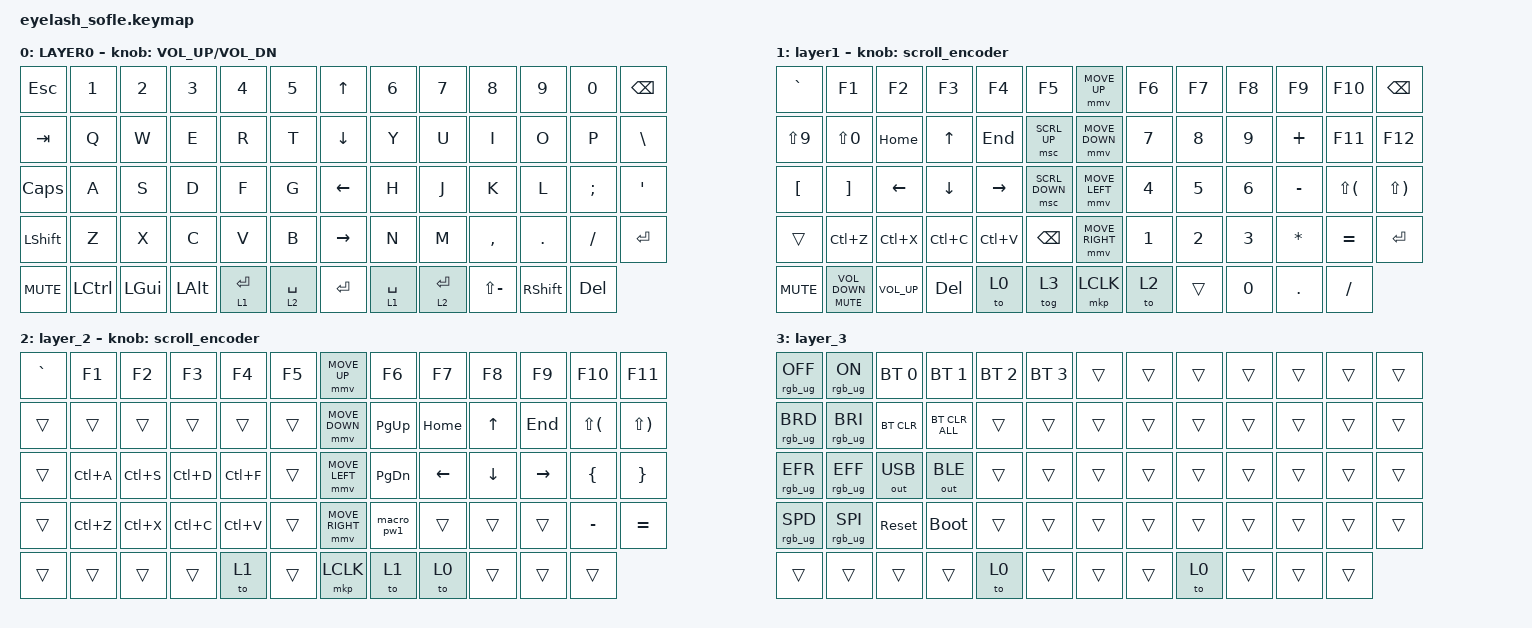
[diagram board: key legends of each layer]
#define ZMK_POINTING_DEFAULT_MOVE_VAL 1200  // 600
#define ZMK_POINTING_DEFAULT_SCRL_VAL 25   // 10

#include <input/processors.dtsi>
#include <zephyr/dt-bindings/input/input-event-codes.h>
#include <behaviors.dtsi>
#include <dt-bindings/zmk/bt.h>
#include <dt-bindings/zmk/keys.h>
#include <dt-bindings/zmk/outputs.h>
#include <dt-bindings/zmk/pointing.h>
#include <dt-bindings/zmk/rgb.h>

&mmv_input_listener { input-processors = <&zip_xy_scaler 2 1>; };

&msc_input_listener { input-processors = <&zip_scroll_scaler 2 1>; };

&msc {
    acceleration-exponent = <1>;      // 0
    time-to-max-speed-ms = <100>;       // 300
    delay-ms = <0>;                   // 0
};

&mmv {
    time-to-max-speed-ms = <500>;
    acceleration-exponent = <1>;
    trigger-period-ms = <16>;
};

/ {
    scroll_encoder: scroll_encoder {
        compatible = "zmk,behavior-sensor-rotate";
        #sensor-binding-cells = <0>;
        bindings = <&msc SCRL_DOWN>, <&msc SCRL_UP>;

        tap-ms = <100>;
    };

    macros {
        macro_pw1: macro_pw1 {
            compatible = "zmk,behavior-macro";
            #binding-cells = <0>;
            bindings = <&kp LS(X) &kp Q &kp K &kp N9 &kp N1 &kp N0 &kp N7 &kp N1 &kp N5>;
            label = "MACRO_PW1";
        };
    };

    behaviors {
    };

    keymap {
        compatible = "zmk,keymap";

        layer_0 {
            bindings = <
&kp ESC     &kp N1     &kp N2        &kp N3        &kp N4     &kp N5         &kp UP_ARROW     &kp N6       &kp N7        &kp N8         &kp N9           &kp N0      &kp BACKSPACE
&kp TAB     &kp Q      &kp W         &kp E         &kp R      &kp T          &kp DOWN_ARROW   &kp Y        &kp U         &kp I          &kp O            &kp P       &kp BSLH
&kp CAPS    &kp A      &kp S         &kp D         &kp F      &kp G          &kp LEFT_ARROW   &kp H        &kp J         &kp K          &kp L            &kp SEMI    &kp APOS
&kp LSHFT   &kp Z      &kp X         &kp C         &kp V      &kp B          &kp RIGHT_ARROW  &kp N        &kp M         &kp COMMA      &kp DOT          &kp FSLH    &kp ENTER
&kp C_MUTE  &kp LCTRL  &kp LEFT_GUI  &kp LEFT_ALT  &lt 1 RET  &lt 2 SPACE    &kp ENTER        &lt 1 SPACE  &lt 2 RETURN  &kp LS(MINUS)  &kp RIGHT_SHIFT  &kp DELETE
            >;

            sensor-bindings = <&inc_dec_kp C_VOLUME_UP C_VOL_DN>;
            display-name = "LAYER0";
        };

        layer_1 {
            bindings = <
&kp GRAVE         &kp F1                    &kp F2           &kp F3          &kp F4           &kp F5            &mmv MOVE_UP     &kp F6  &kp F7  &kp F8  &kp F9     &kp F10       &kp BSPC
&kp LS(N9)        &kp LS(N0)                &kp HOME         &kp UP_ARROW    &kp END          &msc SCRL_UP      &mmv MOVE_DOWN   &kp N7  &kp N8  &kp N9  &kp PLUS   &kp F11       &kp F12
&kp LEFT_BRACKET  &kp RIGHT_BRACKET         &kp LEFT_ARROW   &kp DOWN_ARROW  &kp RIGHT_ARROW  &msc SCRL_DOWN    &mmv MOVE_LEFT   &kp N4  &kp N5  &kp N6  &kp MINUS  &kp LS(LPAR)  &kp LS(RPAR)
&trans            &kp LC(Z)                 &kp LC(X)        &kp LC(C)       &kp LC(V)        &kp BACKSPACE     &mmv MOVE_RIGHT  &kp N1  &kp N2  &kp N3  &kp STAR   &kp EQUAL     &kp RET
&kp C_MUTE        &mt C_MUTE C_VOLUME_DOWN  &kp C_VOLUME_UP  &kp DELETE      &to 0            &tog 3            &mkp LCLK        &to 2   &trans  &kp N0  &kp DOT    &kp FSLH
            >;

            display-name = "layer1";
            sensor-bindings = <&scroll_encoder>;
        };

        layer_2 {
            bindings = <
&kp GRAVE  &kp F1     &kp F2     &kp F3     &kp F4     &kp F5    &mmv MOVE_UP     &kp F6      &kp F7    &kp F8    &kp F9     &kp F10       &kp F11
&trans     &trans     &trans     &trans     &trans     &trans    &mmv MOVE_DOWN   &kp PG_UP   &kp HOME  &kp UP    &kp END    &kp LS(LPAR)  &kp LS(RPAR)
&trans     &kp LC(A)  &kp LC(S)  &kp LC(D)  &kp LC(F)  &trans    &mmv MOVE_LEFT   &kp PG_DN   &kp LEFT  &kp DOWN  &kp RIGHT  &kp LBRC      &kp RBRC
&trans     &kp LC(Z)  &kp LC(X)  &kp LC(C)  &kp LC(V)  &trans    &mmv MOVE_RIGHT  &macro_pw1  &trans    &trans    &trans     &kp MINUS     &kp EQUAL
&trans     &trans     &trans     &trans     &to 1      &trans    &mkp LCLK        &to 1       &to 0     &trans    &trans     &trans
            >;

            sensor-bindings = <&scroll_encoder>;
        };

        layer_3 {
            bindings = <
&rgb_ug RGB_OFF  &rgb_ug RGB_ON   &bt BT_SEL 0  &bt BT_SEL 1    &bt BT_SEL 2  &bt BT_SEL 3    &trans  &trans  &trans  &trans  &trans  &trans  &trans
&rgb_ug RGB_BRD  &rgb_ug RGB_BRI  &bt BT_CLR    &bt BT_CLR_ALL  &trans        &trans          &trans  &trans  &trans  &trans  &trans  &trans  &trans
&rgb_ug RGB_EFR  &rgb_ug RGB_EFF  &out OUT_USB  &out OUT_BLE    &trans        &trans          &trans  &trans  &trans  &trans  &trans  &trans  &trans
&rgb_ug RGB_SPD  &rgb_ug RGB_SPI  &sys_reset    &bootloader     &trans        &trans          &trans  &trans  &trans  &trans  &trans  &trans  &trans
&trans           &trans           &trans        &trans          &to 0         &trans          &trans  &trans  &to 0   &trans  &trans  &trans
            >;
        };
    };
};
